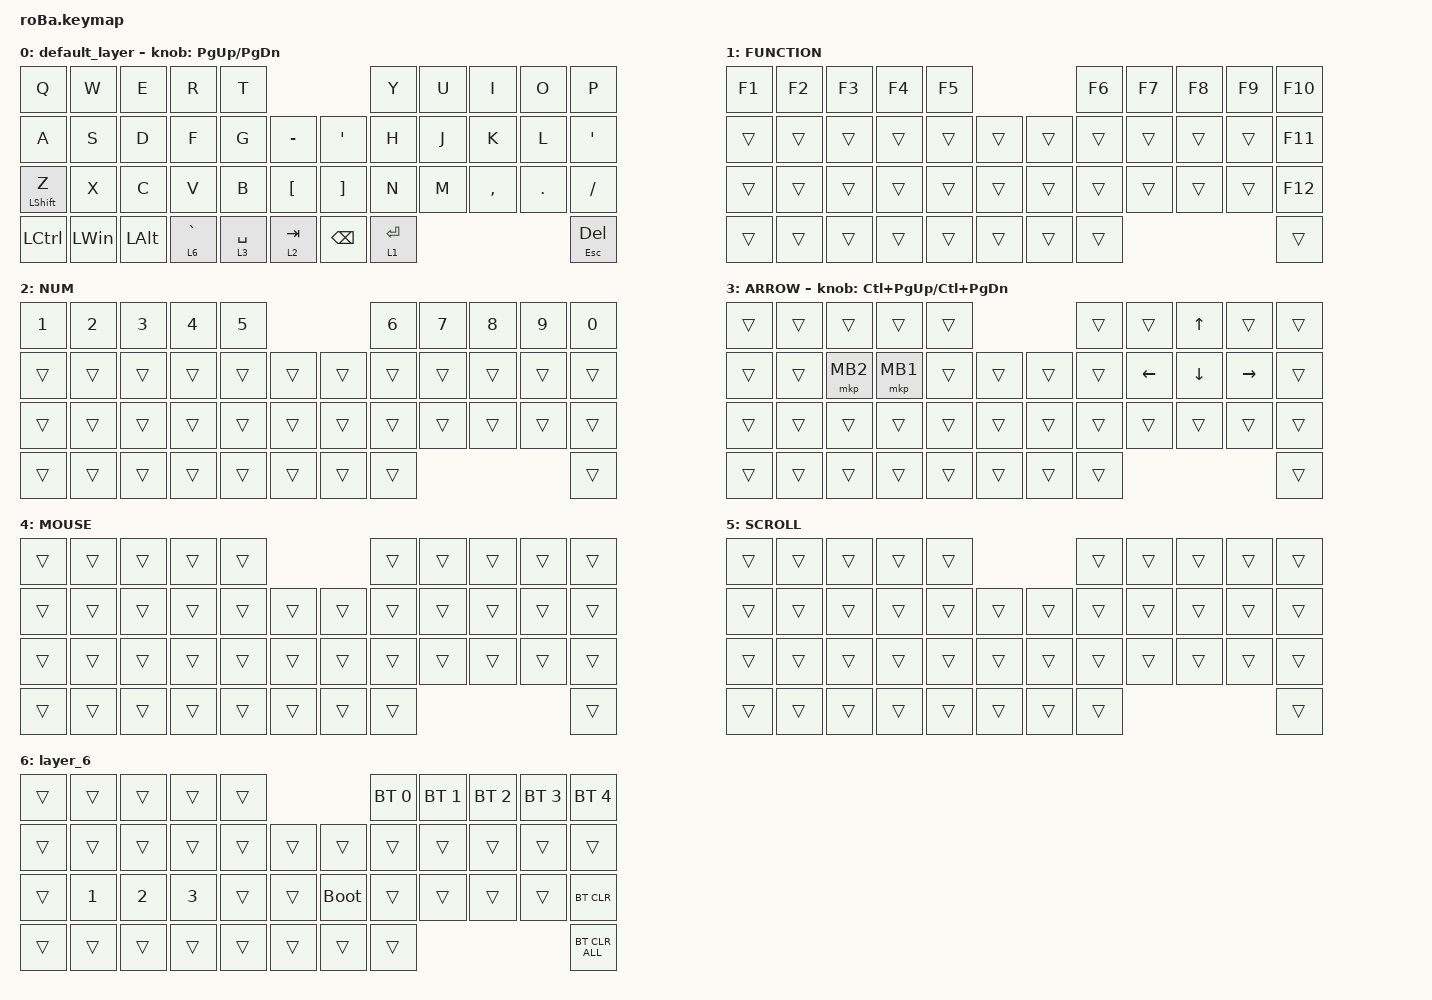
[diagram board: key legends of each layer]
#include <behaviors.dtsi>
#include <dt-bindings/zmk/bt.h>
#include <dt-bindings/zmk/keys.h>
#include <dt-bindings/zmk/mouse.h>

#define MOUSE 4
#define SCROLL 5
#define NUM 6

&mt {
    flavor = "balanced";
    quick-tap-ms = <0>;
};

/ {
    combos {
        compatible = "zmk,combos";

        tab {
            bindings = <&kp TAB>;
            key-positions = <11 12>;
        };

        shift_tab {
            bindings = <&kp LS(TAB)>;
            key-positions = <12 13>;
        };

        muhennkann {
            bindings = <&to_layer_0 INT_MUHENKAN>;
            key-positions = <11 10>;
        };

        double_quotation {
            bindings = <&kp DOUBLE_QUOTES>;
            key-positions = <20 21>;
        };

        eq {
            bindings = <&kp EQUAL>;
            key-positions = <24 25>;
        };
    };

    macros {
        to_layer_0: to_layer_0 {
            compatible = "zmk,behavior-macro-one-param";
            #binding-cells = <1>;
            bindings = <&to 0 &macro_param_1to1 &kp MACRO_PLACEHOLDER>;
            label = "TO_LAYER_0";
        };
    };

    behaviors {
        lt_to_layer_0: lt_to_layer_0 {
            compatible = "zmk,behavior-hold-tap";
            label = "LAYER_TAP_TO_0";
            bindings = <&mo>, <&to_layer_0>;

            #binding-cells = <2>;
            tapping-term-ms = <200>;
        };
    };

    keymap {
        compatible = "zmk,keymap";

        default_layer {
            bindings = <
&kp Q             &kp W         &kp E         &kp R        &kp T                                               &kp Y        &kp U  &kp I      &kp O    &kp P
&kp A             &kp S         &kp D         &kp F        &kp G        &kp MINUS           &kp SINGLE_QUOTE   &kp H        &kp J  &kp K      &kp L    &kp SQT
&mt LEFT_SHIFT Z  &kp X         &kp C         &kp V        &kp B        &kp LEFT_BRACKET    &kp RIGHT_BRACKET  &kp N        &kp M  &kp COMMA  &kp DOT  &kp SLASH
&kp LCTRL         &kp LEFT_WIN  &kp LEFT_ALT  &lt 6 GRAVE  &lt 3 SPACE  &lt 2 TAB           &kp BACKSPACE      &lt 1 ENTER                             &mt ESCAPE DEL
            >;

            sensor-bindings = <&inc_dec_kp PG_UP PAGE_DOWN>;
        };

        FUNCTION {
            bindings = <
&kp F1  &kp F2  &kp F3  &kp F4  &kp F5                    &kp F6  &kp F7  &kp F8  &kp F9  &kp F10
&trans  &trans  &trans  &trans  &trans  &trans    &trans  &trans  &trans  &trans  &trans  &kp F11
&trans  &trans  &trans  &trans  &trans  &trans    &trans  &trans  &trans  &trans  &trans  &kp F12
&trans  &trans  &trans  &trans  &trans  &trans    &trans  &trans                          &trans
            >;
        };

        NUM {
            bindings = <
&kp NUMBER_1  &kp NUMBER_2  &kp NUMBER_3  &kp NUMBER_4  &kp N5                    &kp NUMBER_6  &kp N7  &kp N8  &kp N9  &kp N0
&trans        &trans        &trans        &trans        &trans  &trans    &trans  &trans        &trans  &trans  &trans  &trans
&trans        &trans        &trans        &trans        &trans  &trans    &trans  &trans        &trans  &trans  &trans  &trans
&trans        &trans        &trans        &trans        &trans  &trans    &trans  &trans                                &trans
            >;
        };

        ARROW {
            bindings = <
&trans  &trans  &trans    &trans    &trans                    &trans  &trans          &kp UP_ARROW    &trans           &trans
&trans  &trans  &mkp MB2  &mkp MB1  &trans  &trans    &trans  &trans  &kp LEFT_ARROW  &kp DOWN_ARROW  &kp RIGHT_ARROW  &trans
&trans  &trans  &trans    &trans    &trans  &trans    &trans  &trans  &trans          &trans          &trans           &trans
&trans  &trans  &trans    &trans    &trans  &trans    &trans  &trans                                                   &trans
            >;

            sensor-bindings = <&inc_dec_kp LC(PAGE_UP) LC(PAGE_DOWN)>;
        };

        MOUSE {
            bindings = <
&trans  &trans  &trans  &trans  &trans                    &trans  &trans  &trans  &trans  &trans
&trans  &trans  &trans  &trans  &trans  &trans    &trans  &trans  &trans  &trans  &trans  &trans
&trans  &trans  &trans  &trans  &trans  &trans    &trans  &trans  &trans  &trans  &trans  &trans
&trans  &trans  &trans  &trans  &trans  &trans    &trans  &trans                          &trans
            >;
        };

        SCROLL {
            bindings = <
&trans  &trans  &trans  &trans  &trans                    &trans  &trans  &trans  &trans  &trans
&trans  &trans  &trans  &trans  &trans  &trans    &trans  &trans  &trans  &trans  &trans  &trans
&trans  &trans  &trans  &trans  &trans  &trans    &trans  &trans  &trans  &trans  &trans  &trans
&trans  &trans  &trans  &trans  &trans  &trans    &trans  &trans                          &trans
            >;
        };

        layer_6 {
            bindings = <
&trans  &trans        &trans        &trans        &trans                         &bt BT_SEL 0  &bt BT_SEL 1  &bt BT_SEL 2  &bt BT_SEL 3  &bt BT_SEL 4
&trans  &trans        &trans        &trans        &trans  &trans    &trans       &trans        &trans        &trans        &trans        &trans
&trans  &kp NUMBER_1  &kp NUMBER_2  &kp NUMBER_3  &trans  &trans    &bootloader  &trans        &trans        &trans        &trans        &bt BT_CLR
&trans  &trans        &trans        &trans        &trans  &trans    &trans       &trans                                                  &bt BT_CLR_ALL
            >;
        };
    };
};
